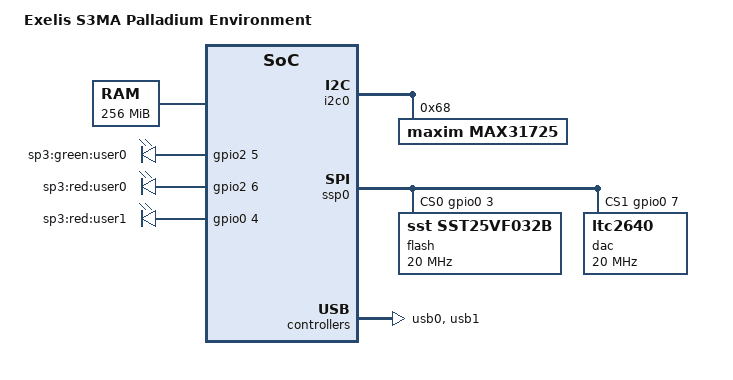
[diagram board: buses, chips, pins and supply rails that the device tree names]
/*
 *  Copyright (C) 2015 Silver Bullet Technology
 *
 * This program is free software; you can redistribute it and/or modify
 * it under the terms of the GNU General Public License as published by
 * the Free Software Foundation; either version 2 of the License, or
 * (at your option) any later version.
 *
 * This program is distributed in the hope that it will be useful,
 * but WITHOUT ANY WARRANTY; without even the implied warranty of
 * MERCHANTABILITY or FITNESS FOR A PARTICULAR PURPOSE.  See the
 * GNU General Public License for more details.
 *
 * You should have received a copy of the GNU General Public License
 * along with this program.  If not, see <http://www.gnu.org/licenses/>.
 */

/dts-v1/;
#include <dt-bindings/gpio/gpio.h>
#include "s3ma.dtsi"

/ {
	model = "Exelis S3MA Palladium Environment";
	compatible = "exelis,s3ma_palladium";

	chosen {
		bootargs = "console=ttyAMA0,1887557";
	};

	memory {
		name = "memory";
		device_type = "memory";
		reg = <0x0 0x10000000>; /* 256 MB */
	};
	
	gpio-leds {
        compatible = "gpio-leds";

        user0 {
            label = "sp3:green:user0";
            gpios = <&gpio2 5 GPIO_ACTIVE_HIGH>;
        };
        user1 {
            label = "sp3:red:user0";
            gpios = <&gpio2 6 GPIO_ACTIVE_HIGH>;
        };
        user2 {
            label = "sp3:red:user1";
            gpios = <&gpio0 4 GPIO_ACTIVE_HIGH>;
        };
    };
};

&gpio0 {
	status = "okay";
};

&gpio1 {
	status = "okay";
};

&gpio2 {
	status = "okay";
};

&i2c0 {
	status = "okay";

    /* TBD */
	max31725@68 {
		compatible = "maxim,max31725";
		reg = <0x68>;
	};
};

&ssp0 {
    fsl,spi-num-chipselects = <2>;
    cs-gpios = <&gpio0 3 0>, <&gpio0 7 0>;
    flash: m25p80@0 {
        #address-cells = <1>;
        #size-cells = <1>;
        compatible = "sst,sst25vf032b", "st,m25p80";
        spi-max-frequency = <20000000>;
        reg = <0>;
    };
    dac: ltc2640@1 {
        #address-cells = <1>;
        #size-cells = <1>;
        spi-max-frequency = <20000000>;
        reg = <1>;
    };
    
};

&usb0 {
	status = "okay";
};

&usb1 {
	status = "okay";
};
